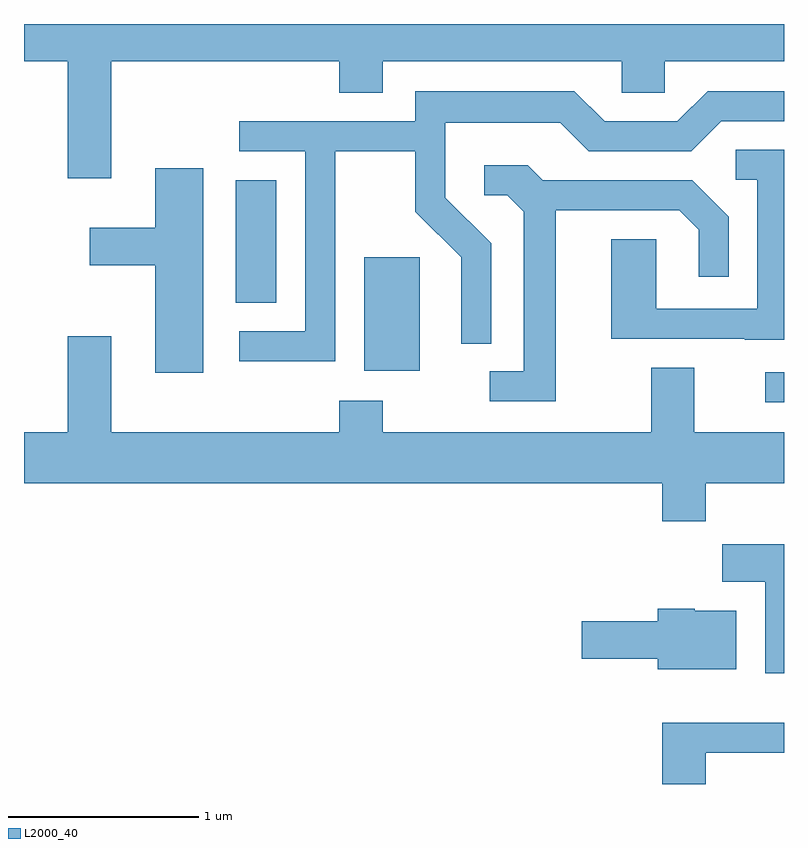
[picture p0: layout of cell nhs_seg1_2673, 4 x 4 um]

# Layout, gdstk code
import gdstk
lib = gdstk.Library(unit=1e-6, precision=1e-09)
def R(c, l, rs):  # rectangles x0, y0, x1, y1
    for r in rs: c.add(gdstk.rectangle(r[:2], r[2:], *l))
def P(c, l, *ps):  # polygons
    for p in ps: c.add(gdstk.Polygon(p, *l))
L2000_40 = (2000, 40)

nhs_seg1_2673 = lib.new_cell('nhs_seg1_2673')
R(nhs_seg1_2673, L2000_40, [(269.513,957.721,269.611,957.879), (267.401,957.886,267.694,958.484), (266.726,958.246,266.939,958.889)])
P(nhs_seg1_2673, L2000_40, [(266.069,959.516),(267.271,959.516),(267.271,959.351),(267.499,959.351),(267.499,959.516),(268.756,959.516),(268.756,959.351),(268.984,959.351),(268.984,959.516),(269.611,959.516),(269.611,959.712),(265.611,959.712),(265.611,959.516),(265.841,959.516),(265.841,958.901),(266.069,958.901)],
  [(267.249,959.041),(267.671,959.041),(267.671,958.724),(267.911,958.484),(267.911,958.028),(268.069,958.028),(268.069,958.557),(267.829,958.797),(267.829,959.191),(268.434,959.191),(268.584,959.041),(269.122,959.041),(269.282,959.201),(269.611,959.201),(269.611,959.359),(269.209,959.359),(269.049,959.199),(268.667,959.199),(268.507,959.359),(267.671,959.359),(267.671,959.199),(266.743,959.199),(266.743,959.041),(267.091,959.041),(267.091,958.094),(266.743,958.094),(266.743,957.936),(267.249,957.936)],
  [(269.611,959.049),(269.358,959.049),(269.358,958.891),(269.471,958.891),(269.471,958.214),(268.939,958.214),(268.939,958.579),(268.701,958.579),(268.701,958.056),(269.405,958.056),(269.405,958.051),(269.611,958.051)],
  [(268.409,958.731),(269.059,958.731),(269.161,958.629),(269.161,958.383),(269.319,958.383),(269.319,958.697),(269.127,958.889),(268.342,958.889),(268.262,958.969),(268.033,958.969),(268.033,958.811),(268.154,958.811),(268.241,958.724),(268.241,957.884),(268.063,957.884),(268.063,957.726),(268.409,957.726)],
  [(266.554,958.954),(266.301,958.954),(266.301,958.639),(265.956,958.639),(265.956,958.441),(266.301,958.441),(266.301,957.876),(266.554,957.876)],
  [(269.199,957.296),(269.611,957.296),(269.611,957.564),(269.139,957.564),(269.139,957.904),(268.911,957.904),(268.911,957.564),(267.499,957.564),(267.499,957.729),(267.271,957.729),(267.271,957.564),(266.069,957.564),(266.069,958.069),(265.841,958.069),(265.841,957.564),(265.611,957.564),(265.611,957.296),(268.971,957.296),(268.971,957.096),(269.199,957.096)],
  [(269.611,956.974),(269.286,956.974),(269.286,956.776),(269.511,956.776),(269.511,956.296),(269.611,956.296)],
  [(269.359,956.624),(269.14,956.624),(269.14,956.634),(268.946,956.634),(268.946,956.569),(268.546,956.569),(268.546,956.371),(268.946,956.371),(268.946,956.316),(269.359,956.316)],
  [(269.199,955.876),(269.611,955.876),(269.611,956.034),(268.971,956.034),(268.971,955.712),(269.199,955.712)])

lib.write_gds('nhs_seg1_2673.gds')
